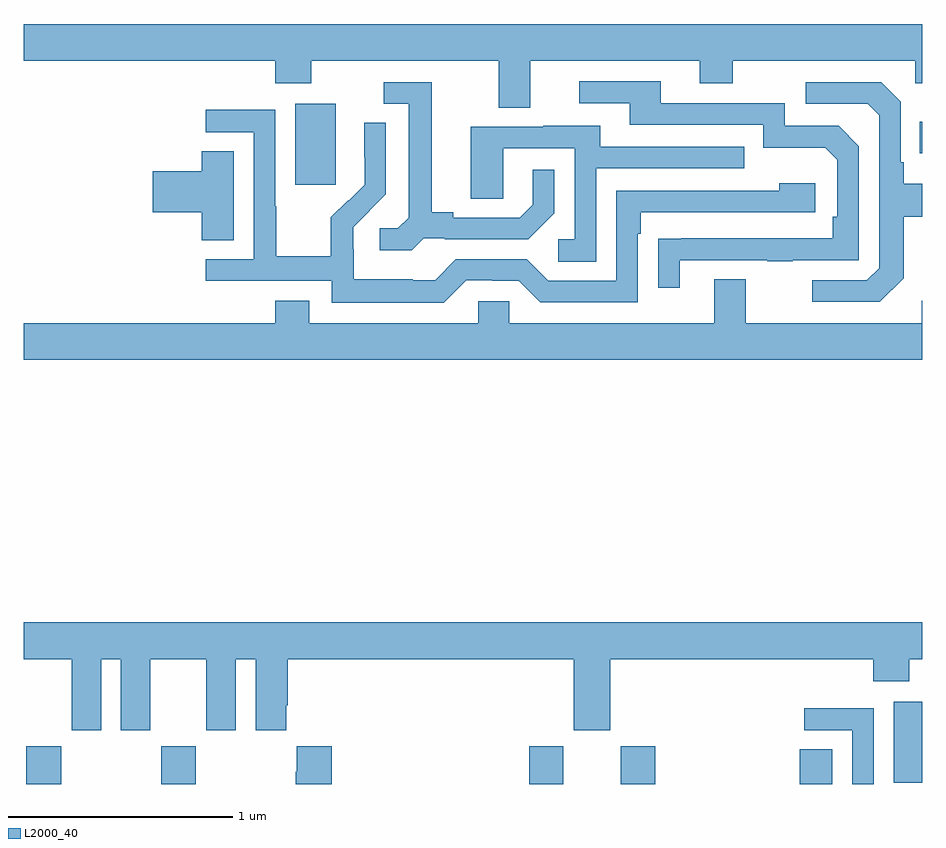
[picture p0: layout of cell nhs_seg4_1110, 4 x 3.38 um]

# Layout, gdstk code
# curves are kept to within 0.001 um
import gdstk
lib = gdstk.Library(unit=1e-6, precision=1e-09)
def R(c, l, rs):  # rectangles x0, y0, x1, y1
    for r in rs: c.add(gdstk.rectangle(r[:2], r[2:], *l))
def P(c, l, *ps):  # polygons
    for p in ps: c.add(gdstk.Polygon(p, *l))
L2000_40 = (2000, 40)

nhs_seg4_1110 = lib.new_cell('nhs_seg4_1110')
R(nhs_seg4_1110, L2000_40, [(167.011,826.9,167.166,827.068), (167.611,826.9,167.766,827.068), (169.25,826.9,169.402,827.067), (169.658,826.9,169.811,827.067), (170.456,826.9,170.599,827.054), (170.873,826.905,171,827.266), (168.209,829.569,168.388,829.93), (170.989,829.709,171,829.849)])
P(nhs_seg4_1110, L2000_40, [(169.255,830.12),(170.009,830.12),(170.009,830.021),(170.157,830.021),(170.157,830.12),(170.97,830.12),(170.97,830.021),(171,830.021),(171,830.284),(167,830.284),(167,830.12),(168.119,830.12),(168.119,830.021),(168.279,830.021),(168.279,830.12),(169.115,830.12),(169.115,829.912),(169.255,829.912)],
  [(169.921,829.233),(170.311,829.233),(170.311,829.228),(170.423,829.228),(170.423,829.233),(170.718,829.233),(170.718,829.74),(170.628,829.83),(170.388,829.83),(170.388,829.932),(169.837,829.932),(169.837,830.028),(169.473,830.028),(169.473,829.932),(169.697,829.932),(169.697,829.836),(170.292,829.836),(170.292,829.733),(170.569,829.733),(170.622,829.68),(170.622,829.426),(170.602,829.426),(170.602,829.329),(169.825,829.328),(169.825,829.11),(169.921,829.11)],
  [(170.917,829.153),(170.917,829.426),(171,829.426),(171,829.573),(170.917,829.573),(170.917,829.669),(170.904,829.669),(170.904,829.938),(170.817,830.025),(170.481,830.025),(170.481,829.929),(170.757,829.929),(170.808,829.878),(170.808,829.197),(170.754,829.143),(170.511,829.143),(170.511,829.047),(170.811,829.047)],
  [(168.78,829.329),(168.874,829.329),(168.874,829.326),(169.246,829.326),(169.362,829.442),(169.362,829.636),(169.265,829.636),(169.265,829.479),(169.208,829.422),(168.913,829.422),(168.913,829.445),(168.817,829.445),(168.817,830.025),(168.603,830.025),(168.603,829.929),(168.713,829.929),(168.713,829.421),(168.666,829.374),(168.585,829.374),(168.585,829.277),(168.728,829.277)],
  [(168.969,829.143),(169.085,829.143),(169.085,829.14),(169.203,829.14),(169.299,829.044),(169.734,829.044),(169.734,829.349),(169.747,829.349),(169.747,829.446),(170.524,829.446),(170.524,829.576),(170.363,829.576),(170.363,829.542),(169.638,829.542),(169.638,829.14),(169.335,829.14),(169.239,829.236),(168.924,829.236),(168.831,829.143),(168.731,829.143),(168.731,829.147),(168.468,829.147),(168.468,829.281),(168.466,829.281),(168.466,829.378),(168.612,829.526),(168.612,829.844),(168.516,829.844),(168.516,829.69),(168.518,829.69),(168.518,829.568),(168.447,829.497),(168.444,829.5),(168.367,829.423),(168.367,829.249),(168.123,829.249),(168.123,829.472),(168.12,829.472),(168.12,829.902),(167.811,829.902),(167.811,829.803),(168.024,829.803),(168.024,829.236),(167.811,829.236),(167.811,829.14),(168.372,829.14),(168.372,829.043),(168.869,829.043)],
  [(169.548,829.641),(170.207,829.641),(170.207,829.737),(169.567,829.737),(169.567,829.831),(169.313,829.831),(169.313,829.827),(168.989,829.827),(168.989,829.507),(169.134,829.507),(169.134,829.731),(169.452,829.731),(169.452,829.326),(169.38,829.326),(169.38,829.225),(169.548,829.225)],
  [(167.935,829.718),(167.792,829.718),(167.792,829.628),(167.574,829.628),(167.574,829.445),(167.792,829.445),(167.792,829.321),(167.935,829.321)],
  [(171,829.051),(170.999,829.051),(170.999,828.952),(170.215,828.952),(170.215,829.147),(170.075,829.147),(170.075,828.952),(169.161,828.952),(169.161,829.05),(169.023,829.05),(169.023,828.952),(168.271,828.952),(168.271,829.051),(168.119,829.051),(168.119,828.952),(167,828.952),(167,828.788),(171,828.788)],
  [(167.344,827.456),(167.432,827.456),(167.432,827.139),(167.563,827.139),(167.563,827.456),(167.813,827.456),(167.813,827.139),(167.944,827.139),(167.944,827.456),(168.032,827.456),(168.032,827.139),(168.169,827.139),(168.169,827.251),(168.176,827.251),(168.176,827.456),(169.448,827.456),(169.448,827.139),(169.612,827.139),(169.612,827.456),(170.783,827.456),(170.783,827.357),(170.943,827.357),(170.943,827.456),(171,827.456),(171,827.62),(167,827.62),(167,827.456),(167.213,827.456),(167.213,827.139),(167.344,827.139)],
  [(170.784,827.238),(170.475,827.238),(170.475,827.139),(170.688,827.139),(170.688,826.9),(170.784,826.9)],
  [(168.371,827.068),(168.215,827.068),(168.215,826.955),(168.211,826.955),(168.211,826.9),(168.371,826.9)])

lib.write_gds('nhs_seg4_1110.gds')
